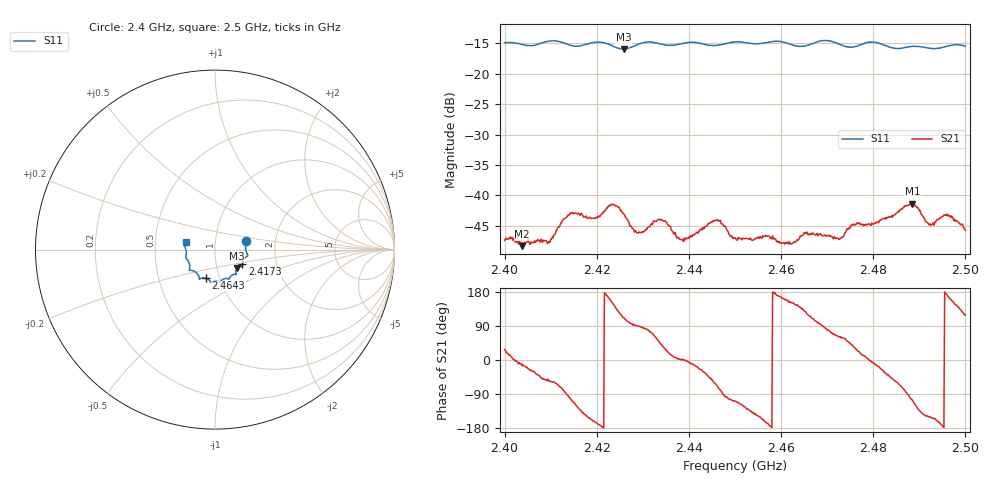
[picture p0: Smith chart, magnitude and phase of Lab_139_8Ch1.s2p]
# Hz S RI R 50
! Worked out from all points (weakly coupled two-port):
!   601 points, 2.4 GHz to 2.5 GHz, reference 50 ohm
!   highest |S21| = -41.36 dB at 2.4885 GHz (marker M1); lowest = -48.4 dB at 2.4038 GHz (marker M2)
!   lowest |S11| = -15.9 dB at 2.4258 GHz (marker M3), VSWR 1.38, Z = 62.3 - j13.2 ohm
!   |S11| at or under -10 dB: start of sweep to end of sweep
!   S12 and S22 are empty: the file has one direction only
!   S11 on the Smith chart (normalised r, x): 2.4 GHz: 1.41, +0.14; 2.4173 GHz: 1.34, -0.23; 2.4643 GHz: 0.86, -0.28; 2.5 GHz: 0.72, +0.06
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2.4e9  0.1734 0.049  0.00377 0.00197  0 0  0 0
2.403833e9  0.1722 0.0265  0.00368 -0.00103  0 0  0 0
2.409667e9  0.1828 -0.0317  0.00242 -0.00341  0 0  0 0
2.414e9  0.1662 -0.047  -0.00111 -0.00681  0 0  0 0
2.416667e9  0.153 -0.075  -0.00507 -0.005  0 0  0 0
2.417333e9  0.1522 -0.0823  -0.0053 -0.004  0 0  0 0
2.423333e9  0.1423 -0.0935  -0.00739 0.00394  0 0  0 0
2.425833e9  0.1216 -0.1034  -0.00263 0.00654  0 0  0 0
2.429167e9  0.1161 -0.1321  0.000138 0.005  0 0  0 0
2.433333e9  0.113 -0.1371  0.00391 0.005  0 0  0 0
2.438667e9  0.081 -0.1581  0.00433 -3.77e-06  0 0  0 0
2.446333e9  0.0451 -0.1659  0.00192 -0.006  0 0  0 0
2.45e9  0.0295 -0.1807  -0.0015 -0.00423  0 0  0 0
2.464333e9  -0.0501 -0.1602  -0.00342 0.00311  0 0  0 0
2.466667e9  -0.0758 -0.1593  -0.00161 0.00451  0 0  0 0
2.472833e9  -0.0902 -0.1487  0.00212 0.00387  0 0  0 0
2.475667e9  -0.113 -0.1218  0.00471 0.0034  0 0  0 0
2.483333e9  -0.1407 -0.0898  0.00503 -0.00426  0 0  0 0
2.4885e9  -0.1613 -0.0482  -0.00236 -0.00822  0 0  0 0
2.492167e9  -0.1607 -0.0238  -0.00492 -0.0029  0 0  0 0
2.495833e9  -0.167 0.0175  -0.00692 0.000696  0 0  0 0
2.5e9  -0.1637 0.0423  -0.00249 0.00452  0 0  0 0
